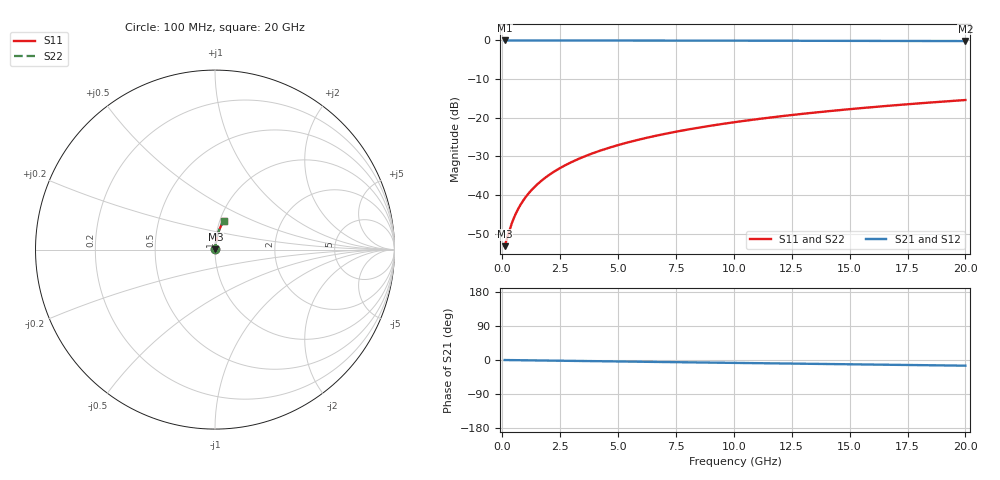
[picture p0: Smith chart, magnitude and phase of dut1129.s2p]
! Touchstone file exported from HFSS 2026.1.0
!  File:  C:/ffzhzh/LocalFiles/Ansys_Project_Files/temp_train_BSMRDL_1129_1783175272_22436.aedt
!  Generated:  10:29:03 PM Jul  4, 2026
!  Design:  BSMRDL
!  Project:  temp_train_BSMRDL_1129_1783175272_22436
! Variables:
!  h_bsmrdl = 2.84um
!  h_ox = 20um
!  h_rdl = 5um
!  h_sub = 80um
!  h_tmrdl = 5um
!  h_tsv = 80um
!  h_via = 3um
!  l_bsmrdl = 178.82um
!  l_sub = 578.82um
!  l_tmrdl = 200um
!  m_sub = 200um
!  pitch = 34.35um
!  r_tsv = 6um
!  s_tmrdl = 10um
!  w_bsmrdl = 12.62um
!  w_sub = 500um
!  w_tmrdl = 12um
!  x_tsv_center1 = 206um
!  x_tsv_center2 = 397.44um
!  x_tsv_center3 = 609.44um
!  x_tsv_center4 = 800.88um
!  x_tsv_center5 = 1012.88um
!  x_tsv_center6 = 1204.32um
# GHz S MA R 50.000000
! Terminal data exported
! Port[1] = BSM_RDL1_1_T1
! Port[2] = BSM_RDL1_1_T2
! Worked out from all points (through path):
!   200 points, 100 MHz to 20 GHz, reference 50 ohm
!   highest |S21| = -0.02 dB at 100 MHz (marker M1); lowest = -0.2 dB at 20 GHz (marker M2)
!   group delay of S21, straight-line fit = 2.08 ps
!   lowest |S11| = -53.2 dB at 100 MHz (marker M3), VSWR 1.00, Z = 50.2 + j0.0946 ohm
!   |S11| at or under -10 dB: start of sweep to end of sweep
!   |S22| runs from -53.2 to -15.4 dB; largest |S21 - S12| = 3.2e-15
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0.1  0.002189 25.5  0.998 -0.1  0.998 -0.1  0.002189 25.5
! Gamma 0 0 0 0
! Port Impedance 50 0 50 0
0.3  0.003447 53.8  0.998 -0.2  0.998 -0.2  0.003447 53.8
0.4  0.004236 60.7  0.9979 -0.3  0.9979 -0.3  0.004236 60.7
0.5  0.005062 65.3  0.9979 -0.4  0.9979 -0.4  0.005062 65.3
0.6  0.005907 68.6  0.9978 -0.5  0.9978 -0.5  0.005907 68.6
0.7  0.006761 71.0  0.9978 -0.6  0.9978 -0.6  0.006761 71.0
0.9  0.008483 74.3  0.9977 -0.7  0.9977 -0.7  0.008484 74.3
1.2  0.01108 77.3  0.9976 -0.9  0.9976 -0.9  0.01108 77.3
1.4  0.01282 78.5  0.9976 -1.1  0.9976 -1.1  0.01282 78.5
1.7  0.01543 79.9  0.9975 -1.3  0.9975 -1.3  0.01543 79.9
2.2  0.0198 81.3  0.9974 -1.7  0.9974 -1.7  0.0198 81.3
2.8  0.02505 82.1  0.9972 -2.2  0.9972 -2.2  0.02506 82.1
3.5  0.03119 82.5  0.9969 -2.7  0.9969 -2.7  0.03119 82.5
4.2  0.03732 82.6  0.9966 -3.2  0.9966 -3.2  0.03732 82.6
5  0.04432 82.5  0.9962 -3.8  0.9962 -3.8  0.04432 82.5
5.9  0.05216 82.2  0.9956 -4.5  0.9956 -4.5  0.05216 82.2
6.8  0.05997 81.8  0.995 -5.2  0.995 -5.2  0.05997 81.8
8.3  0.0729 80.9  0.9939 -6.3  0.9939 -6.3  0.0729 80.9
10.1  0.08826 79.8  0.9922 -7.7  0.9922 -7.7  0.08826 79.8
13.4  0.1159 77.6  0.9887 -10.2  0.9887 -10.2  0.1159 77.6
16.7  0.143 75.3  0.9845 -12.6  0.9845 -12.6  0.143 75.3
20  0.1695 73.0  0.9797 -15.0  0.9797 -15.0  0.1695 73.0
